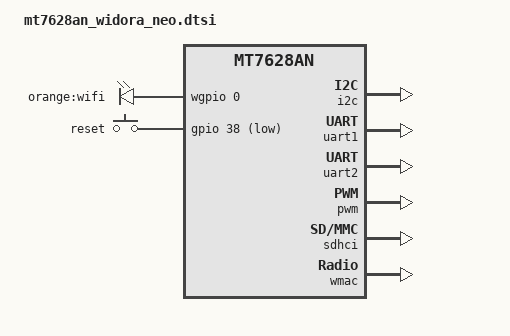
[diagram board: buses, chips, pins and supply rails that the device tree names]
#include "mt7628an.dtsi"

#include <dt-bindings/gpio/gpio.h>
#include <dt-bindings/input/input.h>

/ {
	compatible = "widora,neo", "mediatek,mt7628an-soc";

	chosen {
		bootargs = "console=ttyS0,115200";
	};

	leds {
		compatible = "gpio-leds";

		led_wifi: wifi {
			label = "orange:wifi";
			gpios = <&wgpio 0 GPIO_ACTIVE_HIGH>;
			default-state = "on";
		};
	};

	keys {
		compatible = "gpio-keys";

		wps {
			label = "reset";
			gpios = <&gpio 38 GPIO_ACTIVE_LOW>;
			linux,code = <KEY_WPS_BUTTON>;
		};
	};

	wgpio: gpio-wifi {
		compatible = "mediatek,gpio-wifi";
		#address-cells = <1>;
		#size-cells = <0>;
		gpio-controller;
		#gpio-cells = <2>;
	};

	nvmem_sysc: eeprom@10000000 {
		compatible = "ralink,nvmem-mt7688-sysc";
		#address-cells = <1>;
		#size-cells = <0>;

		ralink,nvmem-size = <0x80>;
		ralink,nvmem-writable;
		/* Data cells */
		agpio: agpio@3c {
			reg = <0x3c 0x04>;
		};
		gpio1: gpio1@60 {
			reg = <0x60 0x04>;
		};
		gpio2: gpio2@64 {
			reg = <0x64 0x04>;
		};
	};
};

&state_default {
	gpio {
		groups = "gpio", "wdt", "perst", "refclk", "i2s", "spis";
		function = "gpio";
	};

	wled_an {
		groups = "wled_an";
		function = "wled_an";
	};
};

&i2c {
	status = "okay";
};

&uart1 {
	status = "okay";
};

&uart2 {
	status = "okay";
};

&pwm {
	status = "okay";
};

&ethernet {
	mtd-mac-address = <&factory 0x28>;
};

&sdhci {
	status = "okay";
	mediatek,cd-low;
};

&wmac {
	status = "okay";
};
